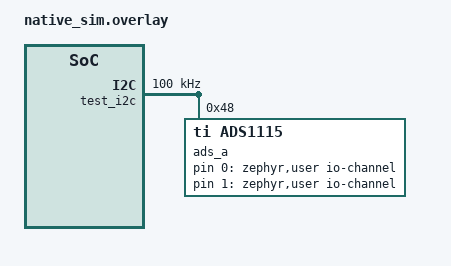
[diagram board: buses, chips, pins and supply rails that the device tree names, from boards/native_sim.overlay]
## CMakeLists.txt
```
cmake_minimum_required(VERSION 3.20.0)

set(DTS_ROOT ${CMAKE_CURRENT_SOURCE_DIR}/../..)
find_package(Zephyr REQUIRED HINTS $ENV{ZEPHYR_BASE})
project(test_ads1x1x_driver)

target_sources(app PRIVATE
    src/main.c
    src/ads1115_emul.c
)

# Build the board-local driver under test the same way the app does (its
# CMakeLists adds the source + the Zephyr ADC include dir for adc_context.h).
add_subdirectory(${CMAKE_CURRENT_SOURCE_DIR}/../../drivers/ads1x1x
                 ${CMAKE_CURRENT_BINARY_DIR}/ads1x1x)
```

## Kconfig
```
# Pull in the board-local ADS1X1X driver's Kconfig (defines
# CONFIG_ADC_ADS1X1X_LOCAL and its thread/init-priority symbols) so this test
# builds the real driver under test.
rsource "../../drivers/ads1x1x/Kconfig"

source "Kconfig.zephyr"
```

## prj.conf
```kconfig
CONFIG_ZTEST=y
CONFIG_LOG=y

# ADC + the board-local multi-channel ADS1X1X driver under test. Disable the
# upstream single-channel driver so only one instantiates the ti,ads1115 node.
CONFIG_ADC=y
CONFIG_ADC_ADS1X1X=n
CONFIG_ADC_ADS1X1X_LOCAL=y

# Emulated I2C bus + emulator subsystem for the ADS1115 register model.
CONFIG_I2C=y
CONFIG_I2C_EMUL=y
CONFIG_EMUL=y
```

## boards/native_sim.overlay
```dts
/* Two analog channels (different differential MUX pairs) on ONE emulated
 * ADS1115, mirroring the real hardware's shared-chip layout (cells 1 & 2 on
 * adc_ext1). The board-local driver must read each channel from its own MUX. */
#include <zephyr/dt-bindings/adc/adc.h>

/ {
	test_i2c: i2c@100 {
		compatible = "zephyr,i2c-emul-controller";
		reg = <0x100 4>;
		#address-cells = <1>;
		#size-cells = <0>;
		clock-frequency = <100000>;
		status = "okay";

		ads_a: ads1115@48 {
			compatible = "ti,ads1115";
			reg = <0x48>;
			#address-cells = <1>;
			#size-cells = <0>;
			#io-channel-cells = <1>;

			channel@0 {	/* AIN0-AIN1 differential */
				reg = <0>;
				zephyr,gain = "ADC_GAIN_8";
				zephyr,reference = "ADC_REF_INTERNAL";
				zephyr,acquisition-time = <ADC_ACQ_TIME_DEFAULT>;
				zephyr,resolution = <16>;
				zephyr,differential;
				zephyr,input-positive = <0>;
				zephyr,input-negative = <1>;
			};

			channel@1 {	/* AIN2-AIN3 differential */
				reg = <1>;
				zephyr,gain = "ADC_GAIN_8";
				zephyr,reference = "ADC_REF_INTERNAL";
				zephyr,acquisition-time = <ADC_ACQ_TIME_DEFAULT>;
				zephyr,resolution = <16>;
				zephyr,differential;
				zephyr,input-positive = <2>;
				zephyr,input-negative = <3>;
			};
		};
	};

	zephyr,user {
		io-channels = <&ads_a 0>, <&ads_a 1>;
	};
};
```

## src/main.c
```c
/*
 * Driver-level regression test for the board-local multi-channel ADS1X1X driver
 * (drivers/ads1x1x). Two logical channels (different differential MUX pairs)
 * share ONE emulated ADS1115. The test proves each channel reads its own
 * MUX-specific value — i.e. the driver programs the correct MUX per channel.
 *
 * This is the layer that catches the original bug: the upstream driver rejects
 * channel_id != 0, so adc_channel_setup_dt(&ch1) below returns -ENOTSUP and the
 * test fails. native_sim integration tests use zephyr,adc-emul and never run the
 * real ti,ads1115 driver, so they are blind to this.
 */

#include <zephyr/ztest.h>
#include <zephyr/drivers/adc.h>
#include <zephyr/devicetree.h>
#include <zephyr/dt-bindings/adc/adc.h>

/* From the test devicetree (boards/native_sim.overlay): two channels on one
 * emulated ADS1115 — channel 0 = AIN0-AIN1, channel 1 = AIN2-AIN3. */
static const struct adc_dt_spec ch0 = ADC_DT_SPEC_GET_BY_IDX(DT_PATH(zephyr_user), 0);
static const struct adc_dt_spec ch1 = ADC_DT_SPEC_GET_BY_IDX(DT_PATH(zephyr_user), 1);

/* Emulator's deterministic value per MUX pair: MUX 0 -> 1000, MUX 3 -> 4000. */
#define EXPECT_CH0_AIN0_1 1000
#define EXPECT_CH1_AIN2_3 4000

/* Fault-injection hooks implemented in ads1115_emul.c — let the tests drive the
 * driver's I2C-error and conversion-not-ready branches. */
void ads1115_emul_fault_reset(void);
void ads1115_emul_fail_writes(bool on);
void ads1115_emul_fail_read_at(int nth);
void ads1115_emul_os_busy_reads(int n);

static int read_channel(const struct adc_dt_spec *spec, int16_t *out)
{
	/* Zero-initialise: adc_sequence_init_dt() only fills
	 * channels/resolution/oversampling, leaving options and calibrate
	 * untouched. A stack-local left uninitialised gives adc_context a
	 * garbage options pointer (it derefs sequence->options and later
	 * invokes options->callback), which segfaults or trips the
	 * buffer-size check. The real app keeps adc_seq in a zeroed static
	 * struct, so it never hits this. */
	struct adc_sequence seq = {0};
	int rc;

	(void)adc_sequence_init_dt(spec, &seq);
	seq.buffer = out;
	seq.buffer_size = sizeof(*out);

	rc = adc_read_dt(spec, &seq);
	return rc;
}

static struct adc_channel_cfg make_channel_cfg(
	uint8_t channel_id,
	enum adc_gain gain,
	enum adc_reference reference,
	uint16_t acquisition_time,
	bool differential,
	uint8_t input_positive,
	uint8_t input_negative)
{
	struct adc_channel_cfg cfg = {
		.gain = gain,
		.reference = reference,
		.acquisition_time = acquisition_time,
		.channel_id = channel_id,
		.differential = differential,
		.input_positive = input_positive,
		.input_negative = input_negative,
	};

	return cfg;
}

static int read_sequence(uint32_t channels, uint8_t resolution,
			 uint8_t oversampling, size_t buffer_size,
			 const struct adc_sequence_options *options)
{
	int16_t samples[4] = {0};
	struct adc_sequence sequence = {
		.options = options,
		.channels = channels,
		.buffer = samples,
		.buffer_size = buffer_size,
		.resolution = resolution,
		.oversampling = oversampling,
	};

	return adc_read(ch0.dev, &sequence);
}

ZTEST(ads1x1x_multichannel, test_distinct_mux_per_channel)
{
	int16_t v0 = 0;
	int16_t v1 = 0;

	zassert_true(adc_is_ready_dt(&ch0), "ch0 ADC device not ready");
	zassert_true(adc_is_ready_dt(&ch1), "ch1 ADC device not ready");

	/* Both channels live on the SAME ADS1115. The upstream single-channel
	 * driver rejects channel_id 1 here with -ENOTSUP (the bug). */
	zassert_ok(adc_channel_setup_dt(&ch0), "cell-1 (AIN0-AIN1) channel setup failed");
	zassert_ok(adc_channel_setup_dt(&ch1), "cell-2 (AIN2-AIN3) channel setup failed");

	zassert_ok(read_channel(&ch0, &v0), "ch0 read failed");
	zassert_ok(read_channel(&ch1, &v1), "ch1 read failed");

	zassert_equal(v0, EXPECT_CH0_AIN0_1,
		      "ch0 (AIN0-AIN1) expected %d, got %d", EXPECT_CH0_AIN0_1, v0);
	zassert_equal(v1, EXPECT_CH1_AIN2_3,
		      "ch1 (AIN2-AIN3) expected %d, got %d", EXPECT_CH1_AIN2_3, v1);
	zassert_not_equal(v0, v1,
			  "both channels read the same MUX — not actually multiplexed");
}

/* Re-reading must keep selecting the right MUX (the fix programs the full CONFIG
 * word per conversion, so an interleaved read of the other channel can't leave a
 * stale MUX behind). */
ZTEST(ads1x1x_multichannel, test_interleaved_reads_stay_independent)
{
	int16_t a = 0;
	int16_t b = 0;
	int16_t c = 0;

	zassert_ok(adc_channel_setup_dt(&ch0));
	zassert_ok(adc_channel_setup_dt(&ch1));

	zassert_ok(read_channel(&ch0, &a));
	zassert_ok(read_channel(&ch1, &b));
	zassert_ok(read_channel(&ch0, &c)); /* ch0 again after ch1 */

	zassert_equal(a, EXPECT_CH0_AIN0_1, "first ch0 read %d", a);
	zassert_equal(b, EXPECT_CH1_AIN2_3, "ch1 read %d", b);
	zassert_equal(c, EXPECT_CH0_AIN0_1, "ch0 re-read %d (stale MUX?)", c);
}

ZTEST(ads1x1x_multichannel, test_all_differential_and_single_ended_muxes)
{
	static const struct {
		bool differential;
		uint8_t input_positive;
		uint8_t input_negative;
	} mux_cases[] = {
		{ true, 0, 1 },
		{ true, 0, 3 },
		{ true, 1, 3 },
		{ true, 2, 3 },
		{ false, 0, 0 },
		{ false, 1, 0 },
		{ false, 2, 0 },
		{ false, 3, 0 },
	};

	for (size_t i = 0; i < ARRAY_SIZE(mux_cases); i++) {
		struct adc_channel_cfg cfg = make_channel_cfg(
			0, ADC_GAIN_8, ADC_REF_INTERNAL, ADC_ACQ_TIME_DEFAULT,
			mux_cases[i].differential, mux_cases[i].input_positive,
			mux_cases[i].input_negative);

		zassert_ok(adc_channel_setup(ch0.dev, &cfg),
			   "MUX case %zu rejected", i);
	}

	/* Single-ended ADS1115 samples expose 15 bits rather than the 16-bit
	 * differential result. Read the final AIN3 setup to cover that path. */
	zassert_ok(read_sequence(BIT(0), 15, 0, sizeof(int16_t), NULL));
}

ZTEST(ads1x1x_multichannel, test_rejects_invalid_channel_inputs)
{
	struct adc_channel_cfg cfg = make_channel_cfg(
		8, ADC_GAIN_8, ADC_REF_INTERNAL, ADC_ACQ_TIME_DEFAULT,
		true, 0, 1);

	zassert_equal(adc_channel_setup(ch0.dev, &cfg), -EINVAL);

	cfg = make_channel_cfg(0, ADC_GAIN_8, ADC_REF_VDD_1_4,
			       ADC_ACQ_TIME_DEFAULT, true, 0, 1);
	zassert_equal(adc_channel_setup(ch0.dev, &cfg), -ENOTSUP);

	cfg = make_channel_cfg(0, ADC_GAIN_8, ADC_REF_INTERNAL,
			       ADC_ACQ_TIME_DEFAULT, true, 0, 2);
	zassert_equal(adc_channel_setup(ch0.dev, &cfg), -ENOTSUP);

	cfg = make_channel_cfg(0, ADC_GAIN_8, ADC_REF_INTERNAL,
			       ADC_ACQ_TIME_DEFAULT, false, 4, 0);
	zassert_equal(adc_channel_setup(ch0.dev, &cfg), -ENOTSUP);
}

ZTEST(ads1x1x_multichannel, test_accepts_every_data_rate_and_gain)
{
	static const enum adc_gain gains[] = {
		ADC_GAIN_1_3,
		ADC_GAIN_1_2,
		ADC_GAIN_1,
		ADC_GAIN_2,
		ADC_GAIN_4,
		ADC_GAIN_8,
	};

	for (uint16_t data_rate = 0; data_rate <= 7; data_rate++) {
		struct adc_channel_cfg cfg = make_channel_cfg(
			0, ADC_GAIN_8, ADC_REF_INTERNAL,
			ADC_ACQ_TIME(ADC_ACQ_TIME_TICKS, data_rate),
			true, 0, 1);

		zassert_ok(adc_channel_setup(ch0.dev, &cfg),
			   "data-rate selector %u rejected", data_rate);
	}

	for (size_t i = 0; i < ARRAY_SIZE(gains); i++) {
		struct adc_channel_cfg cfg = make_channel_cfg(
			0, gains[i], ADC_REF_INTERNAL, ADC_ACQ_TIME_DEFAULT,
			true, 0, 1);

		zassert_ok(adc_channel_setup(ch0.dev, &cfg),
			   "gain index %zu rejected", i);
	}
}

ZTEST(ads1x1x_multichannel, test_rejects_invalid_data_rate_and_gain)
{
	struct adc_channel_cfg cfg = make_channel_cfg(
		0, ADC_GAIN_8, ADC_REF_INTERNAL,
		ADC_ACQ_TIME(ADC_ACQ_TIME_MICROSECONDS, 20), true, 0, 1);

	zassert_equal(adc_channel_setup(ch0.dev, &cfg), -ENOTSUP);

	cfg = make_channel_cfg(0, ADC_GAIN_8, ADC_REF_INTERNAL,
			       ADC_ACQ_TIME(ADC_ACQ_TIME_TICKS, 8), true, 0, 1);
	zassert_equal(adc_channel_setup(ch0.dev, &cfg), -ENOTSUP);

	cfg = make_channel_cfg(0, ADC_GAIN_16, ADC_REF_INTERNAL,
			       ADC_ACQ_TIME_DEFAULT, true, 0, 1);
	zassert_equal(adc_channel_setup(ch0.dev, &cfg), -ENOTSUP);
}

ZTEST(ads1x1x_multichannel, test_rejects_invalid_sequences)
{
	struct adc_channel_cfg cfg = make_channel_cfg(
		0, ADC_GAIN_8, ADC_REF_INTERNAL, ADC_ACQ_TIME_DEFAULT,
		true, 0, 1);

	zassert_ok(adc_channel_setup(ch0.dev, &cfg));
	zassert_equal(read_sequence(0, 16, 0, sizeof(int16_t), NULL), -ENOTSUP);
	zassert_equal(read_sequence(BIT(0) | BIT(1), 16, 0,
				    sizeof(int16_t), NULL), -ENOTSUP);
	zassert_equal(read_sequence(BIT(6), 16, 0, sizeof(int16_t), NULL),
		      -ENOTSUP);
	zassert_equal(read_sequence(BIT(0), 15, 0, sizeof(int16_t), NULL),
		      -ENOTSUP);
	zassert_equal(read_sequence(BIT(0), 16, 1, sizeof(int16_t), NULL),
		      -ENOTSUP);
	zassert_equal(read_sequence(BIT(0), 16, 0, 1, NULL), -ENOTSUP);
}

ZTEST(ads1x1x_multichannel, test_extra_sampling_uses_full_buffer)
{
	struct adc_channel_cfg cfg = make_channel_cfg(
		0, ADC_GAIN_8, ADC_REF_INTERNAL, ADC_ACQ_TIME_DEFAULT,
		true, 0, 1);
	struct adc_sequence_options options = {
		.extra_samplings = 1,
	};

	zassert_ok(adc_channel_setup(ch0.dev, &cfg));
	zassert_equal(read_sequence(BIT(0), 16, 0, sizeof(int16_t), &options),
		      -ENOTSUP);
	zassert_ok(read_sequence(BIT(0), 16, 0, 2 * sizeof(int16_t), &options));
}

/* A CONFIG write that fails must abort the read: exercises ads1x1x_write_reg's
 * error branch and adc_context_start_sampling's immediate-complete path. */
ZTEST(ads1x1x_multichannel, test_i2c_write_failure_propagates)
{
	int16_t v = 0;

	zassert_ok(adc_channel_setup_dt(&ch0));
	ads1115_emul_fault_reset();
	ads1115_emul_fail_writes(true);

	zassert_not_equal(read_channel(&ch0, &v), 0,
			  "a failed CONFIG write must fail the read");

	ads1115_emul_fault_reset();
	zassert_ok(read_channel(&ch0, &v), "driver must recover after the fault clears");
}

/* A failed status read in wait_data_ready propagates: exercises
 * ads1x1x_read_reg's error branch and the acquisition thread's error path. */
ZTEST(ads1x1x_multichannel, test_i2c_read_failure_in_wait_ready)
{
	int16_t v = 0;

	zassert_ok(adc_channel_setup_dt(&ch0));
	ads1115_emul_fail_read_at(1);   /* first read = CONFIG status */

	zassert_not_equal(read_channel(&ch0, &v), 0,
			  "a failed status read must fail the read");

	ads1115_emul_fault_reset();
	zassert_ok(read_channel(&ch0, &v));
}

/* A failed conversion-register read propagates through adc_perform_read. */
ZTEST(ads1x1x_multichannel, test_i2c_read_failure_in_conversion)
{
	int16_t v = 0;

	zassert_ok(adc_channel_setup_dt(&ch0));
	ads1115_emul_fail_read_at(2);   /* CONFIG ok, CONV read fails */

	zassert_not_equal(read_channel(&ch0, &v), 0,
			  "a failed conversion read must fail the read");

	ads1115_emul_fault_reset();
	zassert_ok(read_channel(&ch0, &v));
}

/* When the OS "ready" bit is not set on the first status read, the driver must
 * poll: exercises the not-ready re-read branch of wait_data_ready. */
ZTEST(ads1x1x_multichannel, test_conversion_not_immediately_ready)
{
	int16_t v = 0;

	zassert_ok(adc_channel_setup_dt(&ch0));
	ads1115_emul_os_busy_reads(2);  /* first two CONFIG reads report "converting" */

	zassert_ok(read_channel(&ch0, &v), "driver must poll until conversion completes");
	ads1115_emul_fault_reset();
	zassert_equal(v, EXPECT_CH0_AIN0_1, "value still correct after polling");
}

ZTEST_SUITE(ads1x1x_multichannel, NULL, NULL, NULL, NULL, NULL);
```

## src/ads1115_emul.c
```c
/*
 * Minimal ADS1115 I2C register emulator for the multi-channel driver ztest.
 *
 * Models the CONV (0x00) and CONFIG (0x01) registers. On a CONFIG write with
 * the OS start bit set it latches the selected MUX and produces a CONV value
 * that is a deterministic function of the MUX pair. The test reads two logical
 * channels (different MUX pairs) on ONE emulated ADS1115 and asserts each
 * returns its pair-specific value — proving the driver programs the right MUX
 * per channel. With the upstream single-channel driver the second channel never
 * sets up, so the test fails there: it is a regression guard for the fix.
 */

#define DT_DRV_COMPAT ti_ads1115

#include <zephyr/device.h>
#include <zephyr/drivers/emul.h>
#include <zephyr/drivers/i2c.h>
#include <zephyr/drivers/i2c_emul.h>
#include <zephyr/sys/byteorder.h>
#include <zephyr/sys/util.h>
#include <zephyr/logging/log.h>

LOG_MODULE_REGISTER(ads1115_emul, LOG_LEVEL_INF);

#define ADS1115_REG_CONV   0x00
#define ADS1115_REG_CONFIG 0x01
#define ADS1115_NUM_REGS   4
#define ADS1115_CONFIG_OS  BIT(15)

struct ads1115_emul_data {
	uint16_t reg[ADS1115_NUM_REGS]; /* CONV, CONFIG, LO_THRESH, HI_THRESH */
};

/* Distinct, deterministic conversion value per differential MUX selection so
 * the test can tell which pair the driver actually programmed:
 *   MUX 0 = AIN0-AIN1 -> 1000,  MUX 3 = AIN2-AIN3 -> 4000, etc. */
static int16_t ads1115_emul_conv_for_mux(uint8_t mux)
{
	return (int16_t)(1000 * (mux + 1));
}

/* ---- Fault injection (test-controlled) ----
 *
 * The plain emulator always succeeds, so the driver's I2C-error and
 * conversion-not-ready branches never run. These knobs let a test make a
 * write fail, make the Nth read since arming fail, or report CONFIG with the
 * OS "still converting" bit clear for a bounded number of reads (so
 * wait_data_ready() has to poll). All default off. */
static bool emul_fail_writes;
static int  emul_fail_read_at;   /* 1-based index of the read to fail; 0 = off */
static int  emul_read_seen;      /* reads observed since the last arm */
static int  emul_os_busy_reads;  /* upcoming CONFIG reads to report as not-ready */

void ads1115_emul_fault_reset(void)
{
	emul_fail_writes = false;
	emul_fail_read_at = 0;
	emul_read_seen = 0;
	emul_os_busy_reads = 0;
}

void ads1115_emul_fail_writes(bool on)
{
	emul_fail_writes = on;
}

void ads1115_emul_fail_read_at(int nth)
{
	emul_fail_read_at = nth;
	emul_read_seen = 0;
}

void ads1115_emul_os_busy_reads(int n)
{
	emul_os_busy_reads = n;
}

static int ads1115_emul_transfer(const struct emul *target, struct i2c_msg *msgs,
				 int num_msgs, int addr)
{
	struct ads1115_emul_data *data = target->data;

	ARG_UNUSED(addr);
	__ASSERT_NO_MSG((NULL != msgs) && (0 != num_msgs));

	/* Register write: [reg, hi, lo] (ads1x1x_write_reg). */
	if (num_msgs == 1 && (msgs[0].flags & I2C_MSG_READ) == 0) {
		uint8_t reg;
		uint16_t val;

		if (emul_fail_writes) {
			return -EIO;
		}
		if (msgs[0].len != 3) {
			LOG_ERR("unexpected write len %d", msgs[0].len);
			return -EIO;
		}
		reg = msgs[0].buf[0];
		val = sys_get_be16(&msgs[0].buf[1]);
		if (reg >= ADS1115_NUM_REGS) {
			return -EIO;
		}
		data->reg[reg] = val;

		if ((reg == ADS1115_REG_CONFIG) && (0U != (val & ADS1115_CONFIG_OS))) {
			/* Start conversion: latch MUX (bits [14:12]) and produce
			 * its CONV value. Keep OS set so the driver's
			 * wait_data_ready() sees "conversion ready" immediately. */
			uint8_t mux = (val >> 12) & 0x7;

			data->reg[ADS1115_REG_CONV] =
				(uint16_t)ads1115_emul_conv_for_mux(mux);
		}
		return 0;
	}

	/* Register read: write reg pointer (1B), read 2B (i2c_burst_read_dt). */
	if (num_msgs == 2 && (msgs[0].flags & I2C_MSG_READ) == 0 &&
	    (msgs[1].flags & I2C_MSG_READ) != 0) {
		uint8_t reg;
		uint16_t out;

		++emul_read_seen;
		if ((0 != emul_fail_read_at) && (emul_read_seen == emul_fail_read_at)) {
			return -EIO;
		}
		if (msgs[0].len != 1 || msgs[1].len != 2) {
			LOG_ERR("unexpected read framing %d/%d", msgs[0].len, msgs[1].len);
			return -EIO;
		}
		reg = msgs[0].buf[0];
		if (reg >= ADS1115_NUM_REGS) {
			return -EIO;
		}
		out = data->reg[reg];
		if ((reg == ADS1115_REG_CONFIG) && (emul_os_busy_reads > 0)) {
			/* Report "conversion still running" so wait_data_ready polls. */
			out &= (uint16_t)~ADS1115_CONFIG_OS;
			--emul_os_busy_reads;
		}
		sys_put_be16(out, msgs[1].buf);
		return 0;
	}

	LOG_ERR("unsupported transfer: num_msgs=%d", num_msgs);
	return -EIO;
}

static int ads1115_emul_init(const struct emul *target, const struct device *parent)
{
	struct ads1115_emul_data *data = target->data;

	ARG_UNUSED(parent);

	/* Power-on reset values; OS=1 means "not currently converting". */
	data->reg[ADS1115_REG_CONV] = 0;
	data->reg[ADS1115_REG_CONFIG] = ADS1115_CONFIG_OS;
	data->reg[2] = 0x8000; /* LO_THRESH reset */
	data->reg[3] = 0x7FFF; /* HI_THRESH reset */
	return 0;
}

static const struct i2c_emul_api ads1115_emul_api_i2c = {
	.transfer = ads1115_emul_transfer,
};

#define ADS1115_EMUL(n)								\
	static struct ads1115_emul_data ads1115_emul_data_##n;			\
	EMUL_DT_INST_DEFINE(n, ads1115_emul_init, &ads1115_emul_data_##n,	\
			    NULL, &ads1115_emul_api_i2c, NULL);

DT_INST_FOREACH_STATUS_OKAY(ADS1115_EMUL)
```
